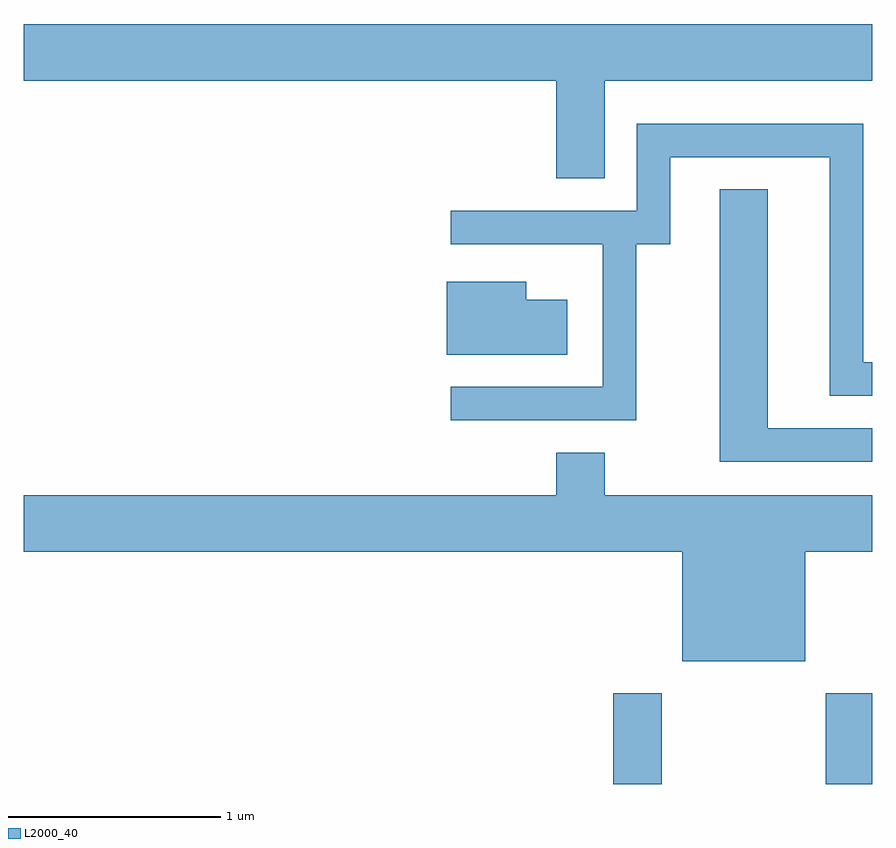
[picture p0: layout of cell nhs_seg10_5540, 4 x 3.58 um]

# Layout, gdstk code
import gdstk
lib = gdstk.Library(unit=1e-6, precision=1e-09)
def R(c, l, rs):  # rectangles x0, y0, x1, y1
    for r in rs: c.add(gdstk.rectangle(r[:2], r[2:], *l))
def P(c, l, *ps):  # polygons
    for p in ps: c.add(gdstk.Polygon(p, *l))
L2000_40 = (2000, 40)

nhs_seg10_5540 = lib.new_cell('nhs_seg10_5540')
R(nhs_seg10_5540, L2000_40, [(350.391,2190.522,350.619,2190.949), (351.391,2190.522,351.611,2190.949)])
P(nhs_seg10_5540, L2000_40, [(350.349,2193.836),(351.611,2193.836),(351.611,2194.104),(347.611,2194.104),(347.611,2193.836),(350.121,2193.836),(350.121,2193.376),(350.349,2193.376)],
  [(350.499,2193.066),(350.659,2193.066),(350.659,2193.476),(351.411,2193.476),(351.411,2192.351),(351.611,2192.351),(351.611,2192.509),(351.569,2192.509),(351.569,2193.634),(350.501,2193.634),(350.501,2193.224),(349.623,2193.224),(349.623,2193.066),(350.341,2193.066),(350.341,2192.394),(349.623,2192.394),(349.623,2192.236),(350.499,2192.236)],
  [(351.611,2192.199),(351.119,2192.199),(351.119,2193.324),(350.891,2193.324),(350.891,2192.041),(351.611,2192.041)],
  [(350.174,2192.804),(349.979,2192.804),(349.979,2192.889),(349.606,2192.889),(349.606,2192.546),(350.174,2192.546)],
  [(351.294,2191.616),(351.611,2191.616),(351.611,2191.884),(350.349,2191.884),(350.349,2192.084),(350.121,2192.084),(350.121,2191.884),(347.611,2191.884),(347.611,2191.616),(350.716,2191.616),(350.716,2191.101),(351.294,2191.101)])

lib.write_gds('nhs_seg10_5540.gds')
